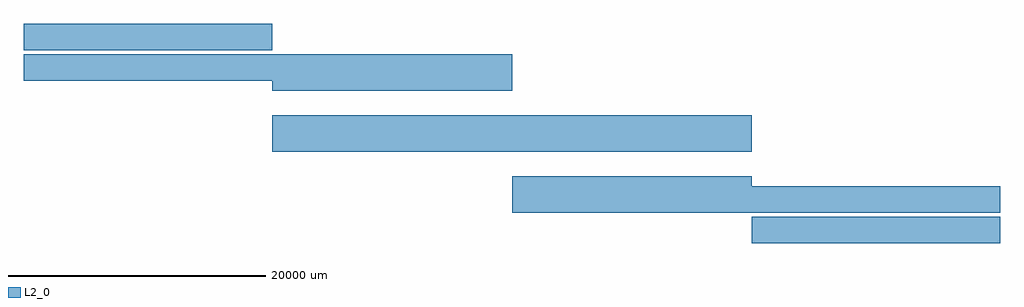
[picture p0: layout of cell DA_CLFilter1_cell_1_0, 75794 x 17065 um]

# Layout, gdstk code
import gdstk
lib = gdstk.Library(unit=1e-6, precision=1e-07)
def R(c, l, rs):  # rectangles x0, y0, x1, y1
    for r in rs: c.add(gdstk.rectangle(r[:2], r[2:], *l))
L2_0 = (2, 0)

mcfil_1 = lib.new_cell('MCFIL_1')
R(mcfil_1, L2_0, [(0,-3821.5,19268,-1749.5), (0,-1454.5,19268,617.5)])

mcfil_2 = lib.new_cell('MCFIL_2')
R(mcfil_2, L2_0, [(0,-6165.5,18629,-3336.5), (0,-1414.5,18629,1414.5)])

mcfil_3 = lib.new_cell('MCFIL_3')
R(mcfil_3, L2_0, [(0,-6165.5,18629,-3336.5), (0,-1414.5,18629,1414.5)])

mcfil_4 = lib.new_cell('MCFIL_4')
R(mcfil_4, L2_0, [(0,-3781.5,19268,-1709.5), (0,-1414.5,19268,657.5)])

da_clfilter1_cell_1_0 = lib.new_cell('DA_CLFilter1_cell_1_0')
da_clfilter1_cell_1_0.add(gdstk.Reference(mcfil_1, (0,0)))
da_clfilter1_cell_1_0.add(gdstk.Reference(mcfil_2, (19268,-3164)))
da_clfilter1_cell_1_0.add(gdstk.Reference(mcfil_3, (37897,-7915)))
da_clfilter1_cell_1_0.add(gdstk.Reference(mcfil_4, (56526,-12666)))

lib.write_gds('DA_CLFilter1_cell_1_0.gds')
